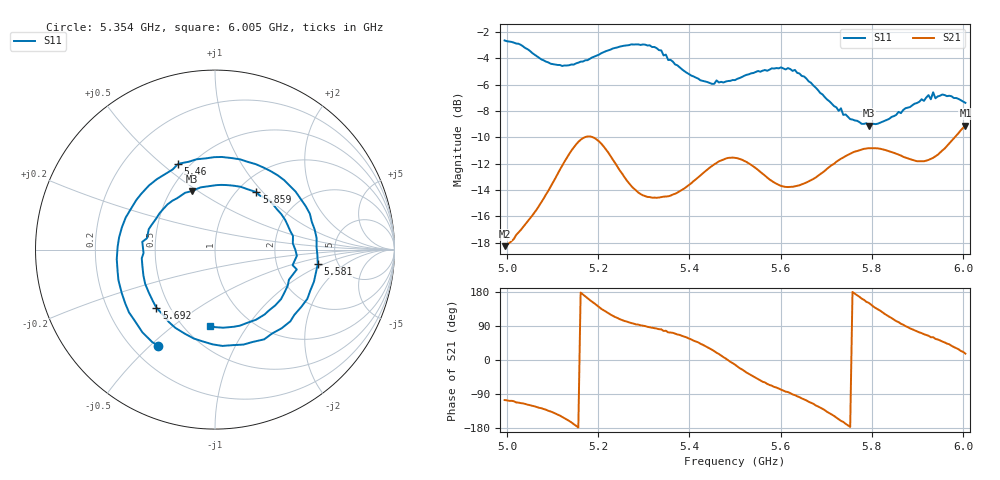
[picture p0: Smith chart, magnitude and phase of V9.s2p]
!File created by NanoVNA
# Hz S RI R 50
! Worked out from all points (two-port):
!   201 points, 4.995 GHz to 6.005 GHz, reference 50 ohm
!   highest |S21| = -9.10 dB at 6.005 GHz (marker M1); lowest = -18.3 dB at 4.995 GHz (marker M2)
!   |S21| within 3 dB of the highest: 5.122 GHz to 5.24 GHz (117.9 MHz wide, 2.28 % of centre); 5.713 GHz to end of sweep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
!   lowest |S11| = -9.1 dB at 5.793 GHz (marker M3), VSWR 2.08, Z = 31.8 + j23.6 ohm
!   |S11| at or under -10 dB: nowhere
!   S12 and S22 are empty: the file has one direction only
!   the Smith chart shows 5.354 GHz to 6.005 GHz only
!   S11 on the Smith chart (normalised r, x): 5.354 GHz: 0.30, -0.53; 5.46 GHz: 0.43, +0.57; 5.581 GHz: 3.51, -0.86; 5.692 GHz: 0.42, -0.35; 5.859 GHz: 1.22, +0.92; 6.005 GHz: 0.66, -0.69
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4.995e9  0.1998 -0.7103  -0.0332 -0.1174  0 0  0 0
5.03035e9  -0.2985 -0.6448  -0.0565 -0.1286  0 0  0 0
5.0758e9  -0.6176 -0.0948  -0.1087 -0.143  0 0  0 0
5.1263e9  -0.3644 0.4675  -0.2289 -0.1137  0 0  0 0
5.1667e9  0.0715 0.6095  -0.3114 0.0388  0 0  0 0
5.25255e9  0.6987 -0.0712  -0.0615 0.2219  0 0  0 0
5.2879e9  0.5319 -0.4749  -0.0116 0.1948  0 0  0 0
5.33335e9  -0.0458 -0.6766  0.0282 0.1845  0 0  0 0
5.35355e9  -0.3172 -0.5347  0.0555 0.1803  0 0  0 0
5.40405e9  -0.5426 0.0152  0.1229 0.1721  0 0  0 0
5.4596e9  -0.2048 0.4781  0.2388 0.0826  0 0  0 0
5.5e9  0.1787 0.49  0.2581 -0.0563  0 0  0 0
5.5808e9  0.5725 -0.0814  0.0813 -0.1999  0 0  0 0
5.6313e9  0.2738 -0.5001  -0.0101 -0.2056  0 0  0 0
5.6717e9  -0.1692 -0.468  -0.0943 -0.1983  0 0  0 0
5.6919e9  -0.3272 -0.3232  -0.1459 -0.1807  0 0  0 0
5.7323e9  -0.4051 0.0432  -0.2474 -0.0869  0 0  0 0
5.7929e9  -0.1282 0.3261  -0.2514 0.1392  0 0  0 0
5.83835e9  0.1114 0.3549  -0.1137 0.2554  0 0  0 0
5.85855e9  0.2308 0.3204  -0.0472 0.2678  0 0  0 0
5.9343e9  0.4556 -0.1105  0.1312 0.2293  0 0  0 0
6.005e9  -0.029 -0.4265  0.3356 0.1014  0 0  0 0
